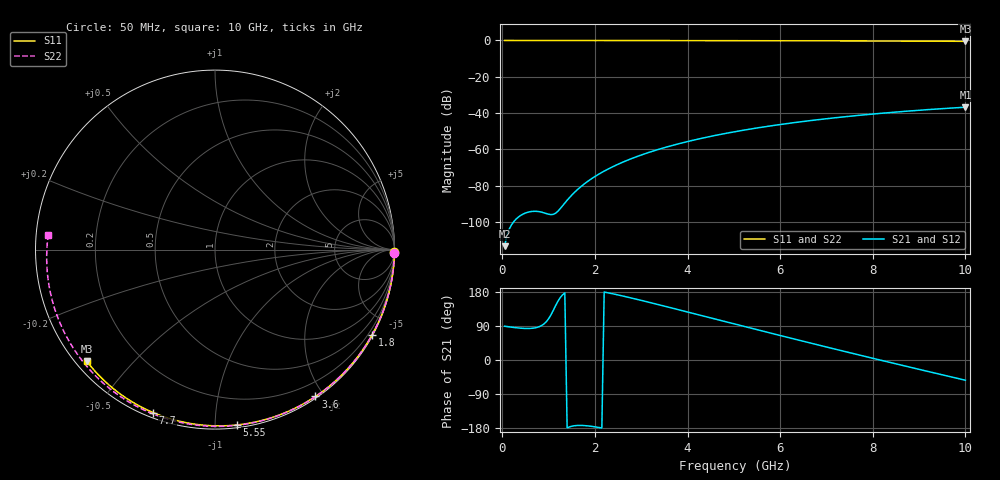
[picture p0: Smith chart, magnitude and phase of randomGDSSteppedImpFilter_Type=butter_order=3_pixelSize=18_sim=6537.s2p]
! freq	dB(S11)	phase(S11)	dB(S12)	phase(S12)
!  dB(S21)	phase(S21)	dB(S22)	phase(S22)
!S-par simulation data
#  GHz  S  DB  R 50
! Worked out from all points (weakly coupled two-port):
!   200 points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, 50 MHz to 10 GHz, reference 50 ohm
!   highest |S21| = -36.76 dB at 10 GHz (marker M1); lowest = -113.3 dB at 50 MHz (marker M2)
!   lowest |S11| = -0.5 dB at 10 GHz (marker M3), VSWR 36.90, Z = 1.55 - j18.7 ohm
!   |S11| at or under -10 dB: nowhere
!   |S22| runs from -0.6 to 0.0 dB; largest |S21 - S12| = 0
!   S11 on the Smith chart (normalised r, x): 50 MHz: open; 1.8 GHz: 0.03, -3.94; 3.6 GHz: 0.02, -1.90; 5.55 GHz: 0.02, -1.13; 7.7 GHz: 0.02, -0.69; 10 GHz: 0.03, -0.37
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0.05  -0.00 -0.8  -113.29 89.1  -113.29 89.1  -0.00 -1.1
0.45  -0.01 -7.2  -95.59 83.5  -95.59 83.5  -0.01 -9.4
0.85  -0.02 -13.6  -94.56 91.0  -94.56 91.0  -0.02 -17.7
1.25  -0.02 -19.9  -92.65 164.4  -92.65 164.4  -0.03 -25.9
1.7  -0.03 -26.9  -80.43 -172.6  -80.43 -172.6  -0.04 -35.0
1.75  -0.04 -27.7  -79.40 -172.9  -79.40 -172.9  -0.05 -36.0
1.8  -0.04 -28.5  -78.42 -173.3  -78.42 -173.3  -0.05 -37.0
2.1  -0.04 -33.1  -73.38 -178.4  -73.38 -178.4  -0.05 -43.0
2.3  -0.05 -36.2  -70.61 176.9  -70.61 176.9  -0.06 -47.0
2.5  -0.05 -39.2  -68.17 171.7  -68.17 171.7  -0.07 -50.9
2.9  -0.06 -45.3  -64.01 160.3  -64.01 160.3  -0.08 -58.7
3.4  -0.07 -52.7  -59.78 145.2  -59.78 145.2  -0.09 -68.2
3.6  -0.07 -55.6  -58.31 139.1  -58.31 139.1  -0.10 -71.9
4.3  -0.09 -65.7  -53.90 117.4  -53.90 117.4  -0.12 -84.8
5.05  -0.12 -76.2  -50.12 94.0  -50.12 94.0  -0.15 -98.2
5.55  -0.14 -83.0  -48.00 78.5  -48.00 78.5  -0.18 -106.9
6.1  -0.16 -90.3  -45.94 61.6  -45.94 61.6  -0.21 -116.4
6.7  -0.19 -98.1  -43.98 43.3  -43.98 43.3  -0.25 -126.6
7.7  -0.25 -110.8  -41.24 13.4  -41.24 13.4  -0.33 -143.6
8.35  -0.30 -118.8  -39.75 -5.8  -39.75 -5.8  -0.40 -154.8
9.2  -0.38 -129.2  -38.07 -30.5  -38.07 -30.5  -0.49 -169.9
10  -0.47 -138.9  -36.76 -53.4  -36.76 -53.4  -0.60 175.1
